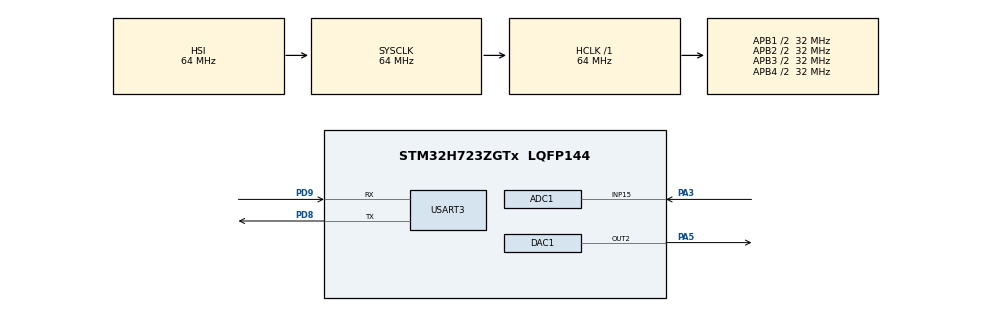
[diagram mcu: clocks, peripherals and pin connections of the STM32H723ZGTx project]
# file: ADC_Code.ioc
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ADC1.Channel-10\#ChannelRegularConversion=ADC_CHANNEL_15
ADC1.ClockPrescaler=ADC_CLOCK_ASYNC_DIV12
ADC1.ContinuousConvMode=ENABLE
ADC1.ConversionDataManagement=ADC_CONVERSIONDATA_DMA_CIRCULAR
ADC1.NbrOfConversionFlag=1
ADC1.OffsetNumber-10\#ChannelRegularConversion=ADC_OFFSET_NONE
ADC1.OffsetSignedSaturation-10\#ChannelRegularConversion=DISABLE
ADC1.Rank-10\#ChannelRegularConversion=1
ADC1.SamplingTime-10\#ChannelRegularConversion=ADC_SAMPLETIME_1CYCLE_5
ADC1.master=1
DAC1.DAC_Channel-DAC_OUT2_ExtAndInt=DAC_CHANNEL_2
Dma.ADC1.0.Direction=DMA_PERIPH_TO_MEMORY
Dma.ADC1.0.EventEnable=DISABLE
Dma.ADC1.0.FIFOMode=DMA_FIFOMODE_DISABLE
Dma.ADC1.0.Instance=DMA1_Stream0
Dma.ADC1.0.MemDataAlignment=DMA_MDATAALIGN_HALFWORD
Dma.ADC1.0.MemInc=DMA_MINC_ENABLE
Dma.ADC1.0.Mode=DMA_CIRCULAR
Dma.ADC1.0.PeriphDataAlignment=DMA_PDATAALIGN_HALFWORD
Dma.ADC1.0.PeriphInc=DMA_PINC_DISABLE
Dma.ADC1.0.Polarity=HAL_DMAMUX_REQ_GEN_RISING
Dma.ADC1.0.Priority=DMA_PRIORITY_LOW
Dma.ADC1.0.RequestNumber=1
Dma.ADC1.0.SignalID=NONE
Dma.ADC1.0.SyncEnable=DISABLE
Dma.ADC1.0.SyncPolarity=HAL_DMAMUX_SYNC_NO_EVENT
Dma.ADC1.0.SyncRequestNumber=1
Dma.ADC1.0.SyncSignalID=NONE
Dma.Request0=ADC1
Mcu.Family=STM32H7
Mcu.Name=STM32H723ZGTx
Mcu.Package=LQFP144
NVIC.DMA1_Stream0_IRQn=true\:0\:0\:false\:false\:true\:false\:true\:true
NVIC.PriorityGroup=NVIC_PRIORITYGROUP_4
NVIC.TIM1_UP_IRQn=true\:15\:0\:false\:false\:true\:false\:true\:true
NVIC.TIM2_IRQn=true\:0\:0\:false\:false\:true\:true\:true\:true
NVIC.TIM3_IRQn=true\:0\:0\:false\:false\:true\:true\:true\:true
NVIC.TimeBase=TIM1_UP_IRQn
NVIC.TimeBaseIP=TIM1
PA13(JTMS/SWDIO).Mode=Trace_Asynchronous_SW
PA13(JTMS/SWDIO).Signal=DEBUG_JTMS-SWDIO
PA14(JTCK/SWCLK).Mode=Trace_Asynchronous_SW
PA14(JTCK/SWCLK).Signal=DEBUG_JTCK-SWCLK
PA3.Signal=ADCx_INP15
PA5.Signal=COMP_DAC12_group
PB3(JTDO/TRACESWO).Mode=Trace_Asynchronous_SW
PB3(JTDO/TRACESWO).Signal=DEBUG_JTDO-SWO
PD8.Mode=Asynchronous
PD8.Signal=USART3_TX
PD9.Mode=Asynchronous
PD9.Signal=USART3_RX
PH0-OSC_IN.Mode=HSE-External-Oscillator
PH0-OSC_IN.Signal=RCC_OSC_IN
PH1-OSC_OUT.Mode=HSE-External-Oscillator
PH1-OSC_OUT.Signal=RCC_OSC_OUT
ProjectManager.HeapSize=0x200
ProjectManager.StackSize=0x400
ProjectManager.TargetToolchain=STM32CubeIDE
RCC.ADCFreq_Value=38400000
RCC.APB1Freq_Value=32000000
RCC.APB2Freq_Value=32000000
RCC.APB3Freq_Value=32000000
RCC.APB4Freq_Value=32000000
RCC.CortexFreq_Value=64000000
RCC.D1PPRE=RCC_APB3_DIV2
RCC.D2PPRE1=RCC_APB1_DIV2
RCC.D2PPRE2=RCC_APB2_DIV2
RCC.D3PPRE=RCC_APB4_DIV2
RCC.DIVM2=4
RCC.DIVN2=12
RCC.DIVP2=5
RCC.HCLKFreq_Value=64000000
RCC.PLL2FRACN=0
RCC.SYSCLKFreq_VALUE=64000000
RCC.USBCLockSelection=RCC_USBCLKSOURCE_HSI48
RCC.USBFreq_Value=48000000
SH.ADCx_INP15.0=ADC1_INP15,IN15-Single-Ended
SH.COMP_DAC12_group.0=DAC1_OUT2,DAC_OUT2_ExtAndInt
TIM2.Period=1920000
TIM2.Prescaler=1000
TIM3.Period=51200
TIM3.Prescaler=1000
USART3.VirtualMode-Asynchronous=VM_ASYNC
VP_SYS_VS_tim1.Mode=TIM1
VP_TIM2_VS_ClockSourceINT.Mode=Internal
VP_TIM3_VS_ClockSourceINT.Mode=Internal
board=custom

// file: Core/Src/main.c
/* USER CODE BEGIN Header */
/**
  ******************************************************************************
  * @file           : main.c
  * @brief          : Main program body
  ******************************************************************************
  * @attention
  *
  * Copyright (c) 2022 STMicroelectronics.
  * All rights reserved.
  *
  * This software is licensed under terms that can be found in the LICENSE file
  * in the root directory of this software component.
  * If no LICENSE file comes with this software, it is provided AS-IS.
  *
  ******************************************************************************
  */
/* USER CODE END Header */
#include "main.h"

/* USER CODE BEGIN Includes */
#include "string.h"
#include "stdlib.h"
#include "stdio.h"
#include "math.h"
#include "time.h"
#include "inttypes.h"
#include "stdbool.h"
/* USER CODE END Includes */

/* USER CODE BEGIN PD */
#define DMA_BUFF_LEN 100
#define DATA_BUFF_LEN 1280
#define txBUFF_LEN 50
#define SECTIONS 10
#define ALPHA 0.00393
#define T1 21
#define HEAT_TIME 0.8 // NEED TO UPDATE
#define FREQ 64000
#define PI 3.14159
#define MAXADC 65536
#define GAIN 51
#define TESTS 3
#define CURRENT 0.015
/* USER CODE END PD */

ADC_HandleTypeDef hadc1;
DMA_HandleTypeDef hdma_adc1;

DAC_HandleTypeDef hdac1;

TIM_HandleTypeDef htim2;
TIM_HandleTypeDef htim3;

UART_HandleTypeDef huart3;

/* USER CODE BEGIN PV */
volatile uint16_t adc_val[DMA_BUFF_LEN];
double avg[TESTS][DATA_BUFF_LEN];
uint32_t temp1, temp2;
double tim[TESTS][DATA_BUFF_LEN];
int data_index = 0;
volatile uint16_t val_dac = 4095*1/3.3;
char txBuff[txBUFF_LEN];
int testNum = 0;
bool run = 1;
int sectSize = DATA_BUFF_LEN / SECTIONS; // number of data points in each section
double linSlopes[TESTS];
double thermCond[TESTS];
double avgThermCond=0;
double heatPower = 0.015*0.015*1/0.05; // I2R
double testingSum;
int done = 0;
/* USER CODE END PV */

void SystemClock_Config(void);
static void MX_GPIO_Init(void);
static void MX_DMA_Init(void);
static void MX_ADC1_Init(void);
static void MX_DAC1_Init(void);
static void MX_USART3_UART_Init(void);
static void MX_TIM3_Init(void);
static void MX_TIM2_Init(void);
/* USER CODE BEGIN PFP */
static void runTest(void);
double findTemp(double resistance);
double slope_linear_region(double logTime[], double temp[], int numPoints, int sectSize);
void splitArray(double* array[], int size, int rows, double* result[rows][size]);
void lin_Regression(double x[], double y[], int n, double* result);
double calcThermCond(double heatPower, double slope);
/* USER CODE END PFP */

int main(void)
{

  /* MCU Configuration--------------------------------------------------------*/

  /* Reset of all peripherals, Initializes the Flash interface and the Systick. */
  HAL_Init();

  /* Configure the system clock */
  SystemClock_Config();

  /* USER CODE BEGIN SysInit */
  srand(time(NULL));
  /* USER CODE END SysInit */

  /* Initialize all configured peripherals */
  MX_GPIO_Init();
  MX_DMA_Init();
  MX_ADC1_Init();
  MX_DAC1_Init();
  MX_USART3_UART_Init();
  MX_TIM3_Init();
  MX_TIM2_Init();
  /* USER CODE BEGIN 2 */
  HAL_DAC_Start(&hdac1,DAC_CHANNEL_2);
  HAL_DAC_SetValue(&hdac1, DAC_CHANNEL_2, DAC_ALIGN_12B_R,  4095*0.3/3.3);
  runTest();
  /* USER CODE END 2 */

  /* Infinite loop */
  while(1)
  {

  }
}

void SystemClock_Config(void)
{
  RCC_OscInitTypeDef RCC_OscInitStruct = {0};
  RCC_ClkInitTypeDef RCC_ClkInitStruct = {0};

  /** Supply configuration update enable
  */
  HAL_PWREx_ConfigSupply(PWR_LDO_SUPPLY);
  /** Configure the main internal regulator output voltage
  */
  __HAL_PWR_VOLTAGESCALING_CONFIG(PWR_REGULATOR_VOLTAGE_SCALE3);

  while(!__HAL_PWR_GET_FLAG(PWR_FLAG_VOSRDY)) {}
  /** Macro to configure the PLL clock source
  */
  __HAL_RCC_PLL_PLLSOURCE_CONFIG(RCC_PLLSOURCE_HSI);
  /** Initializes the RCC Oscillators according to the specified parameters
  * in the RCC_OscInitTypeDef structure.
  */
  RCC_OscInitStruct.OscillatorType = RCC_OSCILLATORTYPE_HSI;
  RCC_OscInitStruct.HSIState = RCC_HSI_DIV1;
  RCC_OscInitStruct.HSICalibrationValue = RCC_HSICALIBRATION_DEFAULT;
  RCC_OscInitStruct.PLL.PLLState = RCC_PLL_NONE;
  RCC_OscInitStruct.PLL.PLLSource = RCC_PLLSOURCE_HSI;
  if (HAL_RCC_OscConfig(&RCC_OscInitStruct) != HAL_OK)
  {
    Error_Handler();
  }
  /** Initializes the CPU, AHB and APB buses clocks
  */
  RCC_ClkInitStruct.ClockType = RCC_CLOCKTYPE_HCLK|RCC_CLOCKTYPE_SYSCLK
                              |RCC_CLOCKTYPE_PCLK1|RCC_CLOCKTYPE_PCLK2
                              |RCC_CLOCKTYPE_D3PCLK1|RCC_CLOCKTYPE_D1PCLK1;
  RCC_ClkInitStruct.SYSCLKSource = RCC_SYSCLKSOURCE_HSI;
  RCC_ClkInitStruct.SYSCLKDivider = RCC_SYSCLK_DIV1;
  RCC_ClkInitStruct.AHBCLKDivider = RCC_HCLK_DIV1;
  RCC_ClkInitStruct.APB3CLKDivider = RCC_APB3_DIV2;
  RCC_ClkInitStruct.APB1CLKDivider = RCC_APB1_DIV2;
  RCC_ClkInitStruct.APB2CLKDivider = RCC_APB2_DIV2;
  RCC_ClkInitStruct.APB4CLKDivider = RCC_APB4_DIV2;

  if (HAL_RCC_ClockConfig(&RCC_ClkInitStruct, FLASH_LATENCY_1) != HAL_OK)
  {
    Error_Handler();
  }
}

static void MX_ADC1_Init(void)
{

  ADC_MultiModeTypeDef multimode = {0};
  ADC_ChannelConfTypeDef sConfig = {0};

  /** Common config
  */
  hadc1.Instance = ADC1;
  hadc1.Init.ClockPrescaler = ADC_CLOCK_ASYNC_DIV12;
  hadc1.Init.Resolution = ADC_RESOLUTION_16B;
  hadc1.Init.ScanConvMode = ADC_SCAN_DISABLE;
  hadc1.Init.EOCSelection = ADC_EOC_SINGLE_CONV;
  hadc1.Init.LowPowerAutoWait = DISABLE;
  hadc1.Init.ContinuousConvMode = ENABLE;
  hadc1.Init.NbrOfConversion = 1;
  hadc1.Init.DiscontinuousConvMode = DISABLE;
  hadc1.Init.ExternalTrigConv = ADC_SOFTWARE_START;
  hadc1.Init.ExternalTrigConvEdge = ADC_EXTERNALTRIGCONVEDGE_NONE;
  hadc1.Init.ConversionDataManagement = ADC_CONVERSIONDATA_DMA_CIRCULAR;
  hadc1.Init.Overrun = ADC_OVR_DATA_PRESERVED;
  hadc1.Init.LeftBitShift = ADC_LEFTBITSHIFT_NONE;
  hadc1.Init.OversamplingMode = DISABLE;
  if (HAL_ADC_Init(&hadc1) != HAL_OK)
  {
    Error_Handler();
  }
  /** Configure the ADC multi-mode
  */
  multimode.Mode = ADC_MODE_INDEPENDENT;
  if (HAL_ADCEx_MultiModeConfigChannel(&hadc1, &multimode) != HAL_OK)
  {
    Error_Handler();
  }
  /** Configure Regular Channel
  */
  sConfig.Channel = ADC_CHANNEL_15;
  sConfig.Rank = ADC_REGULAR_RANK_1;
  sConfig.SamplingTime = ADC_SAMPLETIME_1CYCLE_5;
  sConfig.SingleDiff = ADC_SINGLE_ENDED;
  sConfig.OffsetNumber = ADC_OFFSET_NONE;
  sConfig.Offset = 0;
  sConfig.OffsetSignedSaturation = DISABLE;
  if (HAL_ADC_ConfigChannel(&hadc1, &sConfig) != HAL_OK)
  {
    Error_Handler();
  }

}

static void MX_DAC1_Init(void)
{

  DAC_ChannelConfTypeDef sConfig = {0};

  /** DAC Initialization
  */
  hdac1.Instance = DAC1;
  if (HAL_DAC_Init(&hdac1) != HAL_OK)
  {
    Error_Handler();
  }
  /** DAC channel OUT2 config
  */
  sConfig.DAC_SampleAndHold = DAC_SAMPLEANDHOLD_DISABLE;
  sConfig.DAC_Trigger = DAC_TRIGGER_NONE;
  sConfig.DAC_OutputBuffer = DAC_OUTPUTBUFFER_ENABLE;
  sConfig.DAC_ConnectOnChipPeripheral = DAC_CHIPCONNECT_ENABLE;
  sConfig.DAC_UserTrimming = DAC_TRIMMING_FACTORY;
  if (HAL_DAC_ConfigChannel(&hdac1, &sConfig, DAC_CHANNEL_2) != HAL_OK)
  {
    Error_Handler();
  }

}

static void MX_TIM2_Init(void)
{

  TIM_ClockConfigTypeDef sClockSourceConfig = {0};
  TIM_MasterConfigTypeDef sMasterConfig = {0};

  /* USER CODE BEGIN TIM2_Init 1 */
  HAL_NVIC_EnableIRQ(TIM2_IRQn);
  /* USER CODE END TIM2_Init 1 */
  htim2.Instance = TIM2;
  htim2.Init.Prescaler = 1000;
  htim2.Init.CounterMode = TIM_COUNTERMODE_UP;
  htim2.Init.Period = 1920000;
  htim2.Init.ClockDivision = TIM_CLOCKDIVISION_DIV1;
  htim2.Init.AutoReloadPreload = TIM_AUTORELOAD_PRELOAD_DISABLE;
  if (HAL_TIM_Base_Init(&htim2) != HAL_OK)
  {
    Error_Handler();
  }
  sClockSourceConfig.ClockSource = TIM_CLOCKSOURCE_INTERNAL;
  if (HAL_TIM_ConfigClockSource(&htim2, &sClockSourceConfig) != HAL_OK)
  {
    Error_Handler();
  }
  sMasterConfig.MasterOutputTrigger = TIM_TRGO_RESET;
  sMasterConfig.MasterSlaveMode = TIM_MASTERSLAVEMODE_DISABLE;
  if (HAL_TIMEx_MasterConfigSynchronization(&htim2, &sMasterConfig) != HAL_OK)
  {
    Error_Handler();
  }

}

static void MX_TIM3_Init(void)
{

  TIM_ClockConfigTypeDef sClockSourceConfig = {0};
  TIM_MasterConfigTypeDef sMasterConfig = {0};

  /* USER CODE BEGIN TIM3_Init 1 */
  HAL_NVIC_EnableIRQ(TIM3_IRQn);

  /* USER CODE END TIM3_Init 1 */
  htim3.Instance = TIM3;
  htim3.Init.Prescaler = 1000;
  htim3.Init.CounterMode = TIM_COUNTERMODE_UP;
  htim3.Init.Period = 51200;
  htim3.Init.ClockDivision = TIM_CLOCKDIVISION_DIV1;
  htim3.Init.AutoReloadPreload = TIM_AUTORELOAD_PRELOAD_DISABLE;
  if (HAL_TIM_Base_Init(&htim3) != HAL_OK)
  {
    Error_Handler();
  }
  sClockSourceConfig.ClockSource = TIM_CLOCKSOURCE_INTERNAL;
  if (HAL_TIM_ConfigClockSource(&htim3, &sClockSourceConfig) != HAL_OK)
  {
    Error_Handler();
  }
  sMasterConfig.MasterOutputTrigger = TIM_TRGO_RESET;
  sMasterConfig.MasterSlaveMode = TIM_MASTERSLAVEMODE_DISABLE;
  if (HAL_TIMEx_MasterConfigSynchronization(&htim3, &sMasterConfig) != HAL_OK)
  {
    Error_Handler();
  }

}

static void MX_USART3_UART_Init(void)
{

  huart3.Instance = USART3;
  huart3.Init.BaudRate = 115200;
  huart3.Init.WordLength = UART_WORDLENGTH_8B;
  huart3.Init.StopBits = UART_STOPBITS_1;
  huart3.Init.Parity = UART_PARITY_NONE;
  huart3.Init.Mode = UART_MODE_TX_RX;
  huart3.Init.HwFlowCtl = UART_HWCONTROL_NONE;
  huart3.Init.OverSampling = UART_OVERSAMPLING_16;
  huart3.Init.OneBitSampling = UART_ONE_BIT_SAMPLE_DISABLE;
  huart3.Init.ClockPrescaler = UART_PRESCALER_DIV1;
  huart3.AdvancedInit.AdvFeatureInit = UART_ADVFEATURE_NO_INIT;
  if (HAL_UART_Init(&huart3) != HAL_OK)
  {
    Error_Handler();
  }
  if (HAL_UARTEx_SetTxFifoThreshold(&huart3, UART_TXFIFO_THRESHOLD_1_8) != HAL_OK)
  {
    Error_Handler();
  }
  if (HAL_UARTEx_SetRxFifoThreshold(&huart3, UART_RXFIFO_THRESHOLD_1_8) != HAL_OK)
  {
    Error_Handler();
  }
  if (HAL_UARTEx_DisableFifoMode(&huart3) != HAL_OK)
  {
    Error_Handler();
  }

}

static void MX_DMA_Init(void)
{

  /* DMA controller clock enable */
  __HAL_RCC_DMA1_CLK_ENABLE();

  /* DMA interrupt init */
  /* DMA1_Stream0_IRQn interrupt configuration */
  HAL_NVIC_SetPriority(DMA1_Stream0_IRQn, 0, 0);
  HAL_NVIC_EnableIRQ(DMA1_Stream0_IRQn);

}

static void MX_GPIO_Init(void)
{

  /* GPIO Ports Clock Enable */
  __HAL_RCC_GPIOH_CLK_ENABLE();
  __HAL_RCC_GPIOA_CLK_ENABLE();
  __HAL_RCC_GPIOD_CLK_ENABLE();
  __HAL_RCC_GPIOB_CLK_ENABLE();

}

/* USER CODE BEGIN 4 */

void runTest()
{
	while(done == 0)
	{
		if (run == 1)
		{
		//HAL_Delay(10);
		  HAL_DAC_SetValue(&hdac1, DAC_CHANNEL_2, DAC_ALIGN_12B_R, val_dac);
		  HAL_Delay(1);
		  HAL_ADC_Start_DMA(&hadc1, (uint32_t*)adc_val, DMA_BUFF_LEN);
		  HAL_TIM_Base_Start_IT(&htim3);
		  run = 0;
		}
		//HAL_Delay(30800);

	}

	int apple = 0;
	int j= 0;
	if(done == 1)
	{
		char Buff[] = "start\r\n";
		HAL_UART_Transmit(&huart3,(uint8_t*)Buff, sizeof(Buff),HAL_MAX_DELAY);
		HAL_Delay(1);

		for(apple = 0; apple < TESTS; apple++)
		{
			for( j = 0; j< DATA_BUFF_LEN; j++)
			{
				sprintf(txBuff,"%f, %f\r\n", tim[apple][j], avg[apple][j]);
				HAL_UART_Transmit(&huart3,(uint8_t*)txBuff, sizeof(txBuff),HAL_MAX_DELAY);
				HAL_Delay(1);
			}
			char Buff2[] = "endsingle\r\n";
			HAL_UART_Transmit(&huart3,(uint8_t*)Buff2, sizeof(Buff2),HAL_MAX_DELAY);
			HAL_Delay(1);
		}
		char Buff3[] = "endtest\r\n";
		HAL_UART_Transmit(&huart3,(uint8_t*)Buff3, sizeof(Buff3),HAL_MAX_DELAY);
		HAL_Delay(1);

		HAL_DAC_SetValue(&hdac1, DAC_CHANNEL_2, DAC_ALIGN_12B_R, 0);

		return;
	}
	 /* if(data_index >= DATA_BUFF_LEN){
			  for (int i = 0;i<DATA_BUFF_LEN;i++){
				  sprintf(txBuff,"%d, ",avg[i]);
				  //if(HAL_UART_Transmit(&huart3,(uint8_t*)txBuff, txBUFF_LEN,HAL_MAX_DELAY) != HAL_OK)
					//  Error_Handler();
				  HAL_UART_Transmit(&huart3,(uint8_t*)txBuff, sizeof(txBuff),HAL_MAX_DELAY);
				  HAL_Delay(1);
			  }
			  data_index = 0;
		   }*/

	 	 //HAL_DAC_SetValue(&hdac1, DAC_CHANNEL_2, DAC_ALIGN_12B_R, val_dac);
		  //HAL_ADC_Start_DMA(&hadc1, (uint32_t*)adc_val, DMA_BUFF_LEN);
}

// Called when buffer is completely filled
void HAL_ADC_ConvCpltCallback(ADC_HandleTypeDef* hadc1)
{
	temp1 = __HAL_TIM_GET_COUNTER(&htim3);
	tim[testNum][data_index] = (((double)temp1/51200)*0.8); //+ ((double)temp2/1920000)*30);

	//tim[testNum-1][data_index] = __HAL_TIM_GET_COUNTER(&htim3) + __HAL_TIM_GET_COUNTER(&htim2);
	int i;
	//getting average of adc buffer
	for( i = 0;i<DMA_BUFF_LEN;i++){
		//testingSum = ((double)adc_val[i]/MAXADC) *3.3;
		if(data_index > DATA_BUFF_LEN || data_index < 0 || testNum > TESTS || testNum < 0){
			data_index = 0;
			 HAL_ADC_Stop_DMA(hadc1);
			testNum = TESTS+1;
			 HAL_ADC_Stop_DMA(hadc1);
		}
		else{
			avg[testNum][data_index] += ((double)adc_val[i]/MAXADC) *3.3;
		}
	}

	if(data_index < DATA_BUFF_LEN){
		avg[testNum][data_index] = avg[testNum][data_index]/ DMA_BUFF_LEN;
		data_index++;
	}
	else{
		data_index = 0;
	}

	 HAL_ADC_Start_DMA(hadc1, (uint32_t*)adc_val, DMA_BUFF_LEN);
}
/* USER CODE END 4 */

void HAL_TIM_PeriodElapsedCallback(TIM_HandleTypeDef *htim)
{
  /* USER CODE BEGIN Callback 0 */
	 if (htim->Instance == TIM1)
	 {
	    HAL_IncTick();
	  }

	if(testNum <TESTS)
	{
  /* USER CODE END Callback 0 */
  if (htim->Instance == TIM1) {
    HAL_IncTick();
  }
  /* USER CODE BEGIN Callback 1 */
		  if (htim->Instance == TIM3)
		  {
			  if(avg[0][0] != 0)
			  {
				  HAL_TIM_Base_Stop_IT(&htim3);
				  HAL_DAC_SetValue(&hdac1, DAC_CHANNEL_2, DAC_ALIGN_12B_R, 4095*0.3/3.3);
				  HAL_TIM_Base_Start_IT(&htim2);
				  HAL_ADC_Stop_DMA(&hadc1);
			  }
		  }
		 if (htim->Instance == TIM2)
		 {
			if(avg[0][0] != 0)
			{
				HAL_TIM_Base_Stop_IT(&htim2);
				testNum++;
				run = 1;
				data_index = 0;

				if(testNum >= TESTS)
				{
					done = 1;
					HAL_ADC_Stop_DMA(&hadc1);
					HAL_TIM_Base_Stop_IT(&htim3);
					HAL_TIM_Base_Stop_IT(&htim2);
				}
				else
				{
					HAL_ADC_Stop_DMA(&hadc1);
					HAL_DAC_SetValue(&hdac1, DAC_CHANNEL_2, DAC_ALIGN_12B_R, 4095*1/3.3);
					HAL_TIM_Base_Start_IT(&htim3);
			    }
			}
		}
	}
/*
	else
	{
		HAL_TIM_Base_Stop_IT(&htim2);
		HAL_TIM_Base_Stop_IT(&htim3);
		HAL_DAC_SetValue(&hdac1, DAC_CHANNEL_2, DAC_ALIGN_12B_R,  4095*0.3/3.3);
	}
	*/

  /* USER CODE END Callback 1 */
}

void Error_Handler(void)
{
  __disable_irq();
  while (1)
  {
  }
}
